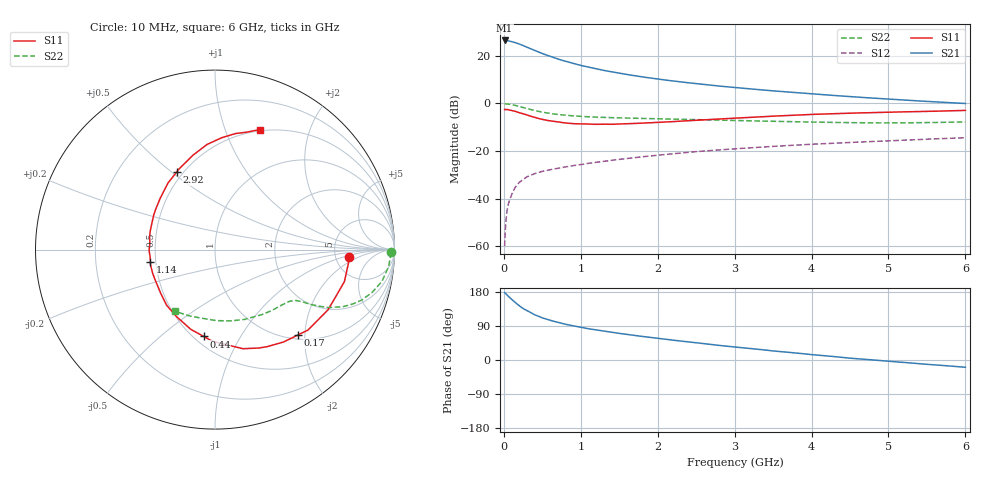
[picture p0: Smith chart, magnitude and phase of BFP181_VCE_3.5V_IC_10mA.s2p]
! Infineon Technologies  Discrete & RF Semiconductors
! BFP181
! VCE = 3.5 V,  IC =  10 mA
! Common Emitter S-Parameters:  Jan 2016
# GHz  S  MA  R  50
!  f  S11  S21  S12  S22
! GHz  MAG  ANG  MAG  ANG  MAG  ANG  MAG  ANG
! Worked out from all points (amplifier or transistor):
!   210 points, 10 MHz to 6 GHz, reference 50 ohm
!   highest |S21| = 26.5 dB at 10 MHz (marker M1)
!   |S21| within 3 dB of that: start of sweep to 312.9 MHz
!   unconditionally stable (mu >= 1): 1.162 GHz to 5.998 GHz
!   at 185 MHz: K = 0.27, MSG = 29.5 dB, |S12| = -33.8 dB
!   at 1.52 GHz: K = 1.10, MAG = 16.1 dB, |S12| = -23.4 dB
!   at 6 GHz: K = 1.00, MSG = 7.2 dB, |S12| = -14.4 dB
!   S11 on the Smith chart (normalised r, x): 10 MHz: 6.61, -1.24; 170 MHz: 1.09, -1.85; 440 MHz: 0.56, -0.71; 1.14 GHz: 0.47, -0.07; 2.92 GHz: 0.46, +0.52; 6 GHz: 0.49, +1.32
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0.01  0.7452 -3.2  21.07 177.7  0.001 74.2  0.9803 -0.9
0.05  0.7428 -13.9  20.82 169.8  0.0068 86.4  0.9723 -5.5
0.1  0.7139 -27.9  19.95 160.3  0.0119 76.0  0.9475 -10.7
0.15  0.6849 -40.9  18.96 151.2  0.0175 69.5  0.9087 -15.1
0.17  0.6634 -45.7  18.46 148.0  0.0192 67.6  0.891 -16.6
0.2  0.6407 -53.5  17.83 143.0  0.0218 65.4  0.8656 -18.9
0.26  0.6006 -65.9  16.18 134.7  0.026 61.0  0.8118 -22.3
0.4  0.5111 -91.6  13.02 119.3  0.0334 54.5  0.7091 -27.1
0.44  0.4881 -97.4  12.25 116.3  0.0349 53.2  0.6872 -27.7
0.5  0.4639 -107.0  11.15 111.1  0.0373 51.5  0.6546 -28.7
0.6  0.4309 -119.6  9.786 104.8  0.0405 50.2  0.6156 -29.8
0.7  0.4108 -131.0  8.554 99.2  0.0432 49.4  0.586 -30.4
0.82  0.3858 -142.5  7.55 93.5  0.0469 48.8  0.5619 -31.0
1.02  0.3707 -160.5  6.194 85.5  0.0523 48.8  0.5316 -32.2
1.14  0.3662 -169.5  5.61 81.4  0.0562 48.8  0.5205 -33.1
1.5  0.3711 169.3  4.322 70.2  0.0667 48.4  0.4968 -36.2
2.02  0.4011 144.8  3.218 56.7  0.0823 47.0  0.4751 -42.5
2.92  0.4823 116.3  2.223 36.0  0.1088 42.0  0.4408 -56.4
3.1  0.4995 111.8  2.093 32.5  0.1139 40.8  0.4335 -59.5
4.1  0.5941 92.7  1.551 12.5  0.1412 33.5  0.4035 -79.6
5.1  0.6609 78.8  1.206 -4.9  0.1661 26.4  0.3897 -102.3
6  0.7135 69.6  0.997 -19.2  0.1902 19.4  0.4095 -123.2
